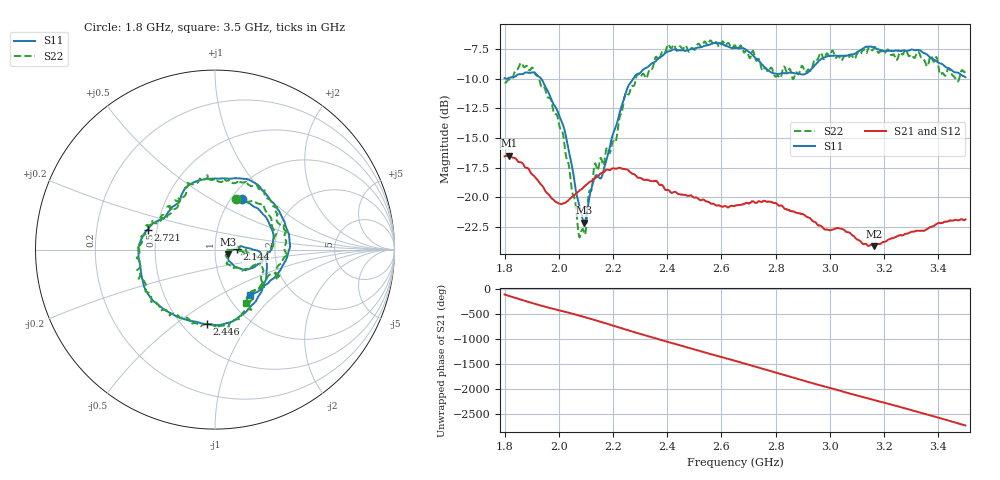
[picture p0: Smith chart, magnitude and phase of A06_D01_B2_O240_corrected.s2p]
! Created with skrf 1.9.0 (http://scikit-rf.org).
# Hz S RI R 50.0
!freq ReS11 ImS11 ReS21 ImS21 ReS12 ImS12 ReS22 ImS22
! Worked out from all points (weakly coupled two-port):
!   1601 points, 1.8 GHz to 3.5 GHz, reference 50 ohm
!   highest |S21| = -16.49 dB at 1.816 GHz (marker M1); lowest = -24.1 dB at 3.163 GHz (marker M2)
!   lowest |S11| = -22.2 dB at 2.093 GHz (marker M3), VSWR 1.17, Z = 57.8 - j3.09 ohm
!   |S11| at or under -10 dB: 1.935 GHz to 2.274 GHz (338.9 MHz wide, 16.1 % of centre)
!   |S22| runs from -23.4 to -6.8 dB; largest |S21 - S12| = 0.0029
!   S11 on the Smith chart (normalised r, x): 1.8 GHz: 1.12, +0.70; 2.144 GHz: 1.28, +0.01; 2.446 GHz: 0.65, -0.66; 2.721 GHz: 0.44, +0.12; 3.5 GHz: 1.26, -0.72
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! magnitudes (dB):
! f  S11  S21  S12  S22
! 1.8 GHz  -9.9  -16.5  -16.5  -10.3
! 1.816 GHz  -9.9  -16.5  -16.5  -10.0
! 1.902 GHz  -9.5  -18.1  -18.1  -9.1
! 1.968 GHz  -11.5  -19.9  -20.0  -11.6
! 2.02 GHz  -14.2  -20.5  -20.5  -15.4
! 2.072 GHz  -20.4  -19.5  -19.6  -22.9
! 2.084 GHz  -21.5  -19.3  -19.3  -22.8
! 2.093 GHz  -22.2  -19.1  -19.2  -23.0
! 2.129 GHz  -18.5  -18.5  -18.5  -17.6
! 2.144 GHz  -18.2  -18.2  -18.2  -17.7
! 2.208 GHz  -14.2  -17.6  -17.6  -15.4
! 2.258 GHz  -10.5  -17.8  -17.8  -11.3
! 2.367 GHz  -8.3  -18.8  -18.8  -8.4
! 2.446 GHz  -7.6  -19.8  -19.8  -7.2
! 2.65 GHz  -7.4  -20.7  -20.7  -7.2
! 2.721 GHz  -8.1  -20.4  -20.3  -7.9
! 2.809 GHz  -9.6  -20.7  -20.6  -9.8
! 2.934 GHz  -9.1  -21.9  -21.9  -9.1
! 3.163 GHz  -7.3  -24.1  -24.1  -7.4
! 3.217 GHz  -7.6  -23.6  -23.5  -7.6
! 3.468 GHz  -9.5  -21.9  -21.9  -10.2
! 3.5 GHz  -9.9  -21.9  -21.9  -9.3
